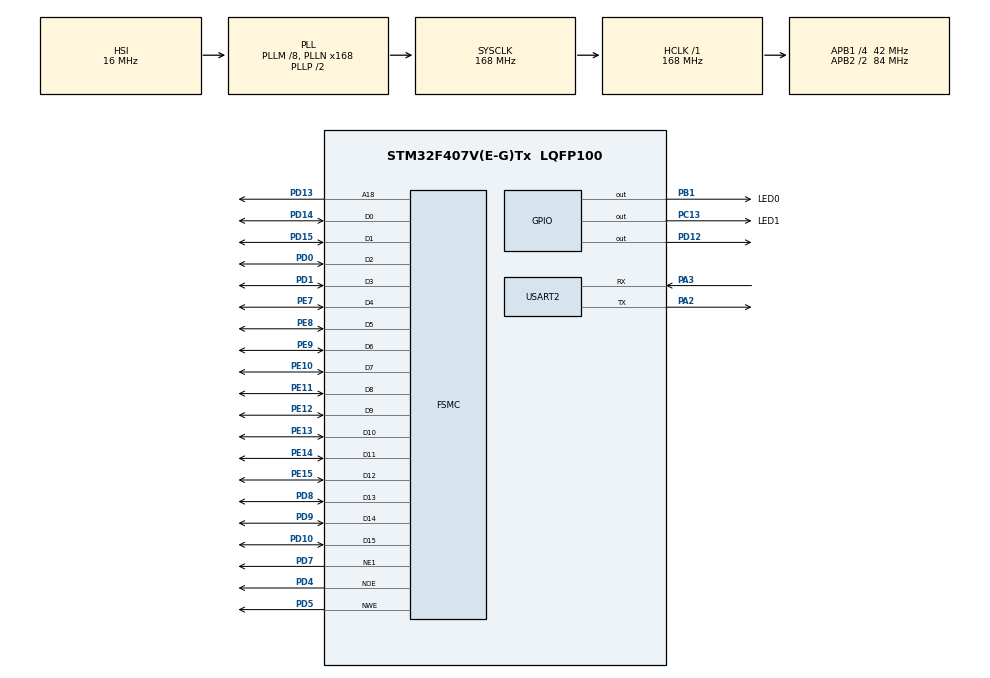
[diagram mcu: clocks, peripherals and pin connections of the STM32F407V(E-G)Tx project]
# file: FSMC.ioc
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FSMC.AddressSetupTime1=15
FSMC.BusTurnAroundDuration1=0
FSMC.DataSetupTime1=60
FSMC.ExtendedAddressSetupTime1=9
FSMC.ExtendedBusTurnAroundDuration1=0
FSMC.ExtendedDataSetupTime1=8
FSMC.ExtendedMode1=FSMC_EXTENDED_MODE_ENABLE
Mcu.Family=STM32F4
Mcu.Name=STM32F407V(E-G)Tx
Mcu.Package=LQFP100
NVIC.PriorityGroup=NVIC_PRIORITYGROUP_4
NVIC.USART2_IRQn=true\:0\:0\:false\:false\:true\:true\:true
PA13.Mode=Serial_Wire
PA13.Signal=SYS_JTMS-SWDIO
PA14.Mode=Serial_Wire
PA14.Signal=SYS_JTCK-SWCLK
PA2.Mode=Asynchronous
PA2.Signal=USART2_TX
PA3.Mode=Asynchronous
PA3.Signal=USART2_RX
PB1.GPIO_Label=LED0
PB1.GPIO_PuPd=GPIO_PULLUP
PB1.GPIO_Speed=GPIO_SPEED_FREQ_HIGH
PB1.Signal=GPIO_Output
PC13-ANTI_TAMP.GPIO_Label=LED1
PC13-ANTI_TAMP.GPIO_PuPd=GPIO_PULLUP
PC13-ANTI_TAMP.Signal=GPIO_Output
PD0.Mode=16b-d1
PD0.Signal=FSMC_D2
PD1.Mode=16b-d1
PD1.Signal=FSMC_D3
PD10.Mode=16b-d1
PD10.Signal=FSMC_D15
PD12.Signal=GPIO_Output
PD13.Mode=A18_1
PD13.Signal=FSMC_A18
PD14.Mode=16b-d1
PD14.Signal=FSMC_D0
PD15.Mode=16b-d1
PD15.Signal=FSMC_D1
PD4.Mode=Lcd1
PD4.Signal=FSMC_NOE
PD5.Mode=Lcd1
PD5.Signal=FSMC_NWE
PD7.Mode=NorPsramChipSelect1_1
PD7.Signal=FSMC_NE1
PD8.Mode=16b-d1
PD8.Signal=FSMC_D13
PD9.Mode=16b-d1
PD9.Signal=FSMC_D14
PE10.Mode=16b-d1
PE10.Signal=FSMC_D7
PE11.Mode=16b-d1
PE11.Signal=FSMC_D8
PE12.Mode=16b-d1
PE12.Signal=FSMC_D9
PE13.Mode=16b-d1
PE13.Signal=FSMC_D10
PE14.Mode=16b-d1
PE14.Signal=FSMC_D11
PE15.Mode=16b-d1
PE15.Signal=FSMC_D12
PE7.Mode=16b-d1
PE7.Signal=FSMC_D4
PE8.Mode=16b-d1
PE8.Signal=FSMC_D5
PE9.Mode=16b-d1
PE9.Signal=FSMC_D6
PH0-OSC_IN.Mode=HSE-External-Oscillator
PH0-OSC_IN.Signal=RCC_OSC_IN
PH1-OSC_OUT.Mode=HSE-External-Oscillator
PH1-OSC_OUT.Signal=RCC_OSC_OUT
ProjectManager.HeapSize=0x200
ProjectManager.StackSize=0x400
ProjectManager.TargetToolchain=MDK-ARM V5
RCC.48MHZClocksFreq_Value=84000000
RCC.AHBFreq_Value=168000000
RCC.APB1CLKDivider=RCC_HCLK_DIV4
RCC.APB1Freq_Value=42000000
RCC.APB1TimFreq_Value=84000000
RCC.APB2CLKDivider=RCC_HCLK_DIV2
RCC.APB2Freq_Value=84000000
RCC.APB2TimFreq_Value=168000000
RCC.CortexFreq_Value=168000000
RCC.HCLKFreq_Value=168000000
RCC.HSE_VALUE=25000000
RCC.HSI_VALUE=16000000
RCC.LSE_VALUE=32768
RCC.PLLM=8
RCC.PLLN=168
RCC.SYSCLKFreq_VALUE=168000000
RCC.SYSCLKSource=RCC_SYSCLKSOURCE_PLLCLK
RCC.VCOOutputFreq_Value=336000000
USART2.VirtualMode=VM_ASYNC
board=custom

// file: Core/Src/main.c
/* USER CODE BEGIN Header */
/**
  ******************************************************************************
  * @file           : main.c
  * @brief          : Main program body
  ******************************************************************************
  * @attention
  *
  * Copyright (c) 2025 STMicroelectronics.
  * All rights reserved.
  *
  * This software is licensed under terms that can be found in the LICENSE file
  * in the root directory of this software component.
  * If no LICENSE file comes with this software, it is provided AS-IS.
  *
  ******************************************************************************
  */
/* USER CODE END Header */
#include "main.h"
#include "usart.h"
#include "gpio.h"
#include "fsmc.h"

/* USER CODE BEGIN Includes */
#include "stdio.h"
#include "lcd.h"
/* USER CODE END Includes */

void SystemClock_Config(void);

/* USER CODE BEGIN 0 */
#define RXBUFFERSIZE  256
char RxBuffer[RXBUFFERSIZE];
/* USER CODE END 0 */

int main(void)
{

  /* MCU Configuration--------------------------------------------------------*/

  /* Reset of all peripherals, Initializes the Flash interface and the Systick. */
  HAL_Init();

  /* Configure the system clock */
  SystemClock_Config();

  /* Initialize all configured peripherals */
  MX_GPIO_Init();
  MX_USART2_UART_Init();
  MX_FSMC_Init();
  /* USER CODE BEGIN 2 */
	uint8_t x = 0;
  uint8_t lcd_id[12];
	lcd_init();           //初始化LCD FSMC接口
	g_point_color = RED;
  sprintf((char *)lcd_id, "LCD ID:%04X", lcddev.id);  /* 将LCD ID打印到lcd_id数组 */
  /* USER CODE END 2 */

  /* Infinite loop */
  while (1)
  {

    /* USER CODE BEGIN 3 */
		switch (x)
        {
        case 0:
            lcd_clear(WHITE);
            break;

        case 1:
            lcd_clear(BLACK);
            break;

        case 2:
            lcd_clear(BLUE);
            break;

        case 3:
            lcd_clear(RED);
            break;

        case 4:
            lcd_clear(MAGENTA);
            break;

        case 5:
            lcd_clear(GREEN);
            break;

        case 6:
            lcd_clear(CYAN);
            break;

        case 7:
            lcd_clear(YELLOW);
            break;

        case 8:
            lcd_clear(BRRED);
            break;

        case 9:
            lcd_clear(GRAY);
            break;

        case 10:
            lcd_clear(LGRAY);
            break;

        case 11:
            lcd_clear(BROWN);
            break;
        }

        lcd_show_string(10, 40, 240, 32, 32, "STM32", RED);
        lcd_show_string(10, 80, 240, 24, 24, "TFTLCD TEST", RED);
        lcd_show_string(10, 110, 240, 16, 16, "ATOM@ALIENTEK", RED);
        lcd_show_string(10, 130, 240, 16, 16, (char *)lcd_id, RED);
        x++;

        if (x == 12)
            x = 0;
				HAL_GPIO_TogglePin(LED0_GPIO_Port,LED0_Pin);
				HAL_GPIO_TogglePin(LED1_GPIO_Port,LED1_Pin);
				HAL_Delay(1000);
				printf("LVGL测试 \n");
  }
  /* USER CODE END 3 */
}

void SystemClock_Config(void)
{
  RCC_OscInitTypeDef RCC_OscInitStruct = {0};
  RCC_ClkInitTypeDef RCC_ClkInitStruct = {0};

  /** Configure the main internal regulator output voltage
  */
  __HAL_RCC_PWR_CLK_ENABLE();
  __HAL_PWR_VOLTAGESCALING_CONFIG(PWR_REGULATOR_VOLTAGE_SCALE1);
  /** Initializes the RCC Oscillators according to the specified parameters
  * in the RCC_OscInitTypeDef structure.
  */
  RCC_OscInitStruct.OscillatorType = RCC_OSCILLATORTYPE_HSI;
  RCC_OscInitStruct.HSIState = RCC_HSI_ON;
  RCC_OscInitStruct.HSICalibrationValue = RCC_HSICALIBRATION_DEFAULT;
  RCC_OscInitStruct.PLL.PLLState = RCC_PLL_ON;
  RCC_OscInitStruct.PLL.PLLSource = RCC_PLLSOURCE_HSI;
  RCC_OscInitStruct.PLL.PLLM = 8;
  RCC_OscInitStruct.PLL.PLLN = 168;
  RCC_OscInitStruct.PLL.PLLP = RCC_PLLP_DIV2;
  RCC_OscInitStruct.PLL.PLLQ = 4;
  if (HAL_RCC_OscConfig(&RCC_OscInitStruct) != HAL_OK)
  {
    Error_Handler();
  }
  /** Initializes the CPU, AHB and APB buses clocks
  */
  RCC_ClkInitStruct.ClockType = RCC_CLOCKTYPE_HCLK|RCC_CLOCKTYPE_SYSCLK
                              |RCC_CLOCKTYPE_PCLK1|RCC_CLOCKTYPE_PCLK2;
  RCC_ClkInitStruct.SYSCLKSource = RCC_SYSCLKSOURCE_PLLCLK;
  RCC_ClkInitStruct.AHBCLKDivider = RCC_SYSCLK_DIV1;
  RCC_ClkInitStruct.APB1CLKDivider = RCC_HCLK_DIV4;
  RCC_ClkInitStruct.APB2CLKDivider = RCC_HCLK_DIV2;

  if (HAL_RCC_ClockConfig(&RCC_ClkInitStruct, FLASH_LATENCY_5) != HAL_OK)
  {
    Error_Handler();
  }
}

void Error_Handler(void)
{
  __disable_irq();
  while (1)
  {
  }
}
